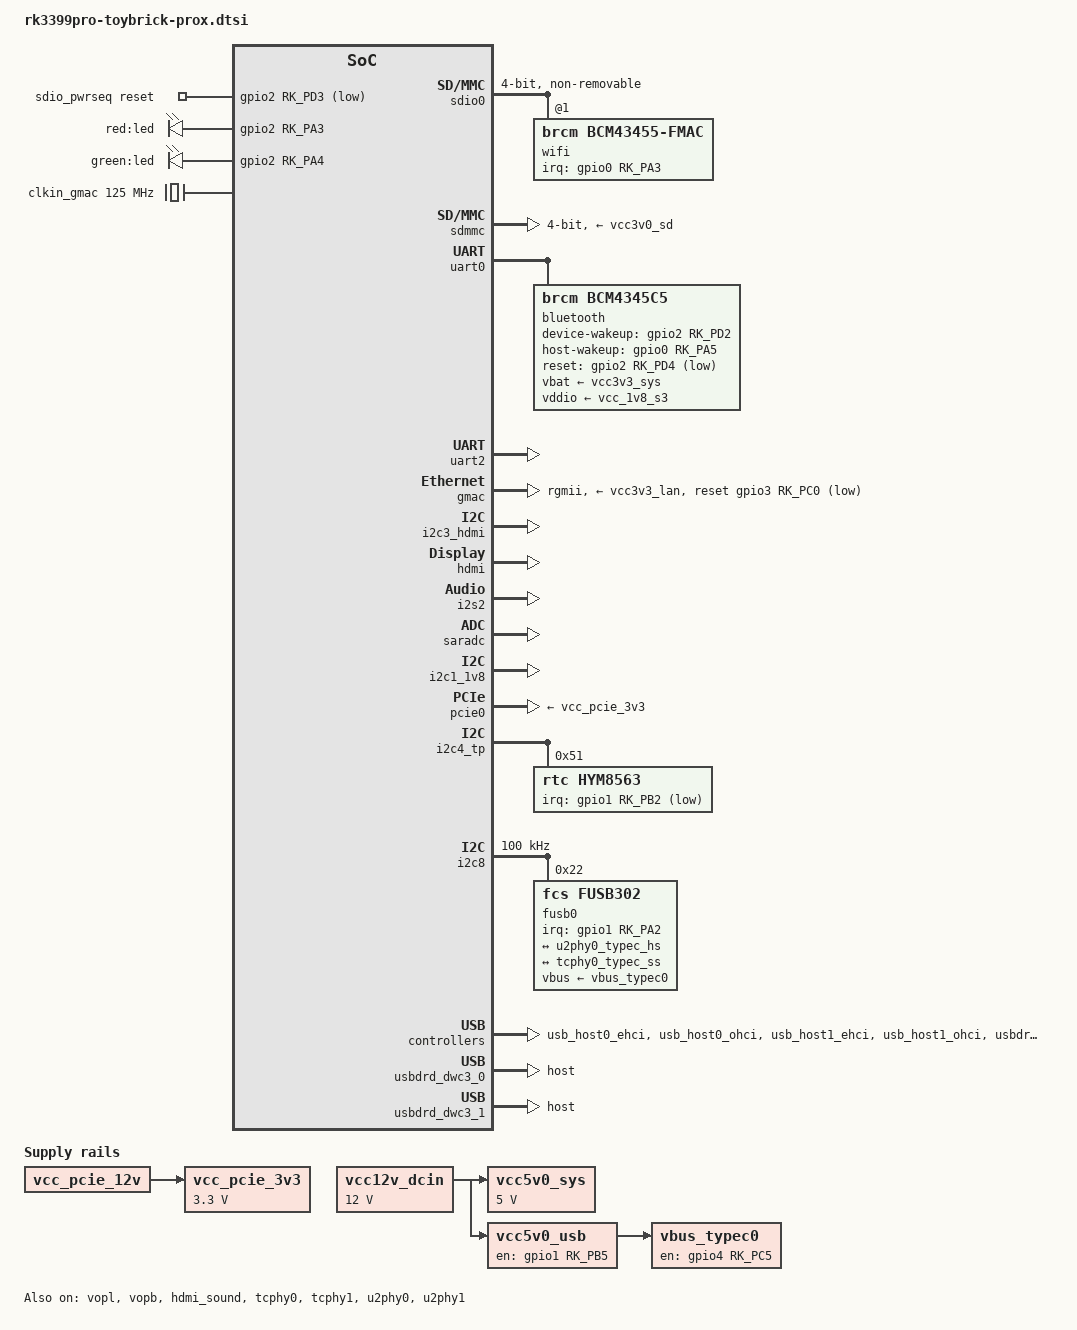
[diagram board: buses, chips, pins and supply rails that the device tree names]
// SPDX-License-Identifier: (GPL-2.0+ OR MIT)
/*
 * Copyright (c) 2019 Fuzhou Rockchip Electronics Co., Ltd
 */

#include <dt-bindings/gpio/gpio.h>
#include <dt-bindings/pinctrl/rockchip.h>

/ {
	vcc12v_dcin: vcc12v-dcin {
		compatible = "regulator-fixed";
		regulator-name = "vcc12v_dcin";
		regulator-always-on;
		regulator-boot-on;
		regulator-min-microvolt = <12000000>;
		regulator-max-microvolt = <12000000>;
	};

	/* Supplied by a NB679GD. */
	vcc5v0_sys: vcc5v0-sys {
		compatible = "regulator-fixed";
		regulator-name = "vcc5v0_sys";
		regulator-always-on;
		regulator-boot-on;
		regulator-min-microvolt = <5000000>;
		regulator-max-microvolt = <5000000>;
		vin-supply = <&vcc12v_dcin>;
	};

	/* Supplied by a SY8113B. */
	vcc5v0_usb: vcc5v0-usb {
		compatible = "regulator-fixed";
		regulator-name = "vcc5v0_usb";
		enable-active-high;
		gpio = <&gpio1 RK_PB5 GPIO_ACTIVE_HIGH>;
		pinctrl-names = "default";
		pinctrl-0 = <&usb5v0_en_h>;
		vin-supply = <&vcc12v_dcin>;
	};

	/* Supplied by a SY6280AAC. */
	vbus_typec0: vbus-typec0 {
		compatible = "regulator-fixed";
		regulator-name = "vbus_typec0";
		enable-active-high;
		gpio = <&gpio4 RK_PC5 GPIO_ACTIVE_HIGH>;
		pinctrl-names = "default";
		pinctrl-0 = <&vcc5v0_typec0_en>;
		vin-supply = <&vcc5v0_usb>;
	};

	/* Supplied by a SY8113B, vcc_pcie_12v also drives the enable pin. */
	vcc_pcie_3v3: vcc-pcie-3v3 {
		compatible = "regulator-fixed";
		regulator-name = "vcc_pcie_3v3";
		regulator-always-on;
		regulator-boot-on;
		regulator-min-microvolt = <3300000>;
		regulator-max-microvolt = <3300000>;
		vin-supply = <&vcc_pcie_12v>;
	};

	sdio_pwrseq: sdio-pwrseq {
		compatible = "mmc-pwrseq-simple";

		clocks = <&rk809 1>;
		clock-names = "lpo";
		pinctrl-names = "default";
		pinctrl-0 = <&wifi_reg_on_h>;
		reset-gpios = <&gpio2 RK_PD3 GPIO_ACTIVE_LOW>;
	};

	gpio-leds {
		compatible = "gpio-leds";

		pinctrl-names = "default";
		pinctrl-0 = <&led_rgb_r &led_rgb_g>;

		led-1 {
			gpios = <&gpio2 RK_PA3 GPIO_ACTIVE_HIGH>;
			label = "red:led";
			default-state = "off";
		};

		led-2 {
			gpios = <&gpio2 RK_PA4 GPIO_ACTIVE_HIGH>;
			label = "green:led";
			default-state = "off";
		};
	};

	clkin_gmac: external-gmac-clock {
		compatible = "fixed-clock";
		clock-frequency = <125000000>;
		clock-output-names = "clkin_gmac";
		#clock-cells = <0>;
	};
};

&rk809_sound {
	pinctrl-names = "default";
	pinctrl-0 = <&phone_det_h>;

	simple-audio-card,hp-det-gpio = <&gpio0 RK_PB5 GPIO_ACTIVE_HIGH>;
};

&sdio0 {
	#address-cells = <1>;
	#size-cells = <0>;

	status = "okay";

	pinctrl-names = "default";
	pinctrl-0 = <&sdio0_bus4 &sdio0_cmd &sdio0_clk>;

	clock-frequency = <150000000>;
	mmc-pwrseq = <&sdio_pwrseq>;
	bus-width = <4>;

	disable-wp;
	cap-sd-highspeed;
	cap-sdio-irq;
	keep-power-in-suspend;
	non-removable;
	sd-uhs-sdr104;

	wifi@1 {
		compatible = "brcm,bcm43455-fmac";
		reg = <1>;

		interrupt-parent = <&gpio0>;
		interrupts = <RK_PA3 IRQ_TYPE_LEVEL_HIGH>;
		interrupt-names = "host-wake";
		pinctrl-names = "default";
		pinctrl-0 = <&wifi_host_wake_l>;
	};
};

&sdmmc {
	status = "okay";

	vmmc-supply = <&vcc3v0_sd>;
	pinctrl-names = "default";
	pinctrl-0 = <&sdmmc_clk &sdmmc_cmd &sdmmc_cd &sdmmc_bus4>;

	clock-frequency = <150000000>;
	bus-width = <4>;

	supports-sd;
	cap-mmc-highspeed;
	cap-sd-highspeed;
	disable-wp;
};

&uart0 {
	status = "okay";

	pinctrl-names = "default";
	pinctrl-0 = <&uart0_xfer &uart0_cts &uart0_rts>;
	uart-has-rtscts;

	bluetooth {
		compatible = "brcm,bcm4345c5";

		clocks = <&rk809 1>;
		clock-names = "lpo";
		pinctrl-names = "default";
		pinctrl-0 = <&bt_host_wake_l &bt_wake_l &bt_reg_on_h>;
		max-speed = <1500000>;

		device-wakeup-gpios = <&gpio2 RK_PD2 GPIO_ACTIVE_HIGH>;
		host-wakeup-gpios = <&gpio0 RK_PA5 GPIO_ACTIVE_HIGH>;
		reset-gpios = <&gpio2 RK_PD4 GPIO_ACTIVE_LOW>;
		vbat-supply = <&vcc3v3_sys>;
		vddio-supply = <&vcc_1v8_s3>;
	};
};

/* Exposed via Micro USB connector using a FT232RL. */
&uart2 {
	status = "okay";
};

&vopl {
	status = "okay";
};

&vopl_mmu {
	status = "okay";
};

&vopb {
	status = "okay";
};

&vopb_mmu {
	status = "okay";
};

vcc3v3_lan: &vccio_3v3 {};

&gmac {
	status = "okay";

	assigned-clocks = <&cru SCLK_RMII_SRC>;
	assigned-clock-parents = <&clkin_gmac>;
	clock_in_out = "input";
	phy-supply = <&vcc3v3_lan>;
	phy-mode = "rgmii";
	pinctrl-names = "default";
	pinctrl-0 = <&rgmii_pins>;

	snps,reset-gpio = <&gpio3 RK_PC0 GPIO_ACTIVE_LOW>;
	snps,reset-active-low;
	snps,reset-delays-us = <0 10000 50000>;

	tx_delay = <0x28>;
	rx_delay = <0x20>;
};

/*
 * Level translated from 3V (VCCIO_3V0) to 5V (VCC5V0_SYS).
 * How should this be modeled?
 */
ddc: &i2c3_hdmi {
	status = "okay";
};

/*
 * Level translated from 3V (VCCIO_3V0) to 5V (VCC5V0_SYS).
 * How should this be modeled?
 */
hdmi_port_cec: &hdmi_cec {};

&hdmi {
	status = "okay";

	ddc-i2c-bus = <&ddc>;
	pinctrl-names = "default";
	pinctrl-0 = <&hdmi_port_cec>;
};

&i2s2 {
	status = "okay";
};

&hdmi_sound {
	status = "okay";
};

&saradc {
	status = "okay";
};

vcc_pcie_12v: &vcc12v_dcin {};

/*
 * Level translated from 1.8V (VCC_1V8_S3) to 3.3V (VCC_PCIE_3V3).
 * How should this be modeled?
 */
i2c1_3v3: &i2c1_1v8 {
	status = "okay";
};

&pcie0 {
	status = "okay";

	pinctrl-names = "default";
	/* Level translated from 1.8V (VCC_1V8_S3) to 3.3V (VCC_PCIE_3V3). */
	pinctrl-0 = <&pcie_perst_l>;
	vpcie3v3-supply = <&vcc_pcie_3v3>;
	vpcie12v-supply = <&vcc_pcie_12v>;
	ep-gpios = <&gpio1 RK_PB1 GPIO_ACTIVE_HIGH>;
};

/*
 * Level translated from 1.8V (VCC_1V8_S3) to 3.3V (VCCIO_3V3).
 * How should this be modeled?
 */
i2c4_tp_3v3: &i2c4_tp {
	status = "okay";

	rtc@51 {
		compatible = "rtc,hym8563";
		reg = <0x51>;

		pinctrl-names = "default";
		pinctrl-0 = <&hym_rtc_int_l>;
		irq-gpios = <&gpio1 RK_PB2 GPIO_ACTIVE_LOW>;
	};
};

vcc5v0_host0: &vcc5v0_usb {};

&i2c8 {
	status = "okay";

	i2c-scl-rising-time-ns = <345>;
	i2c-scl-falling-time-ns = <11>;
	clock-frequency = <100000>;

	fusb0: typec-portc@22 {
		compatible = "fcs,fusb302";
		reg = <0x22>;

		interrupt-parent = <&gpio1>;
		interrupts = <RK_PA2 IRQ_TYPE_LEVEL_LOW>;
		pinctrl-names = "default";
		pinctrl-0 = <&typec_cc_int_l>;
		vbus-supply = <&vbus_typec0>;

		connector {
			compatible = "usb-c-connector";
			data-role = "dual";
			label = "USB-C";
			power-role = "dual";
			try-power-role = "sink";
			typec-power-opmode = "default";
			pd-disable;

			ports {
				#address-cells = <1>;
				#size-cells = <0>;

				port@0 {
					reg = <0>;

					usbc_hs: endpoint {
						remote-endpoint =
							<&u2phy0_typec_hs>;
					};
				};

				port@1 {
					reg = <1>;

					usbc_ss: endpoint {
						remote-endpoint =
							<&tcphy0_typec_ss>;
					};
				};
			};
		};
	};
};

&tcphy0 {
	status = "okay";
};

&tcphy0_usb3 {
	port {
		tcphy0_typec_ss: endpoint {
			remote-endpoint = <&usbc_ss>;
		};
	};
};

&tcphy1 {
	status = "okay";
};

&u2phy0 {
	status = "okay";

	u2phy0_otg: otg-port {
		status = "okay";
	};

	u2phy0_host: host-port {
		status = "okay";

		phy-supply = <&vcc5v0_host0>;
	};

	port {
		u2phy0_typec_hs: endpoint {
			remote-endpoint = <&usbc_hs>;
		};
	};
};

&u2phy1 {
	status = "okay";

	u2phy1_otg: otg-port {
		status = "okay";
	};

	u2phy1_host: host-port {
		status = "okay";

		phy-supply = <&vcc5v0_host0>;
	};
};

&usb_host0_ehci {
	status = "okay";
};

&usb_host0_ohci {
	status = "okay";
};

&usb_host1_ehci {
	status = "okay";
};

&usb_host1_ohci {
	status = "okay";
};

&usbdrd3_0 {
	status = "okay";

	extcon = <&fusb0>;
};

&usbdrd_dwc3_0 {
	status = "okay";

	dr_mode = "host";
};

&usbdrd3_1 {
	status = "okay";
};

&usbdrd_dwc3_1 {
	status = "okay";

	dr_mode = "host";
};
